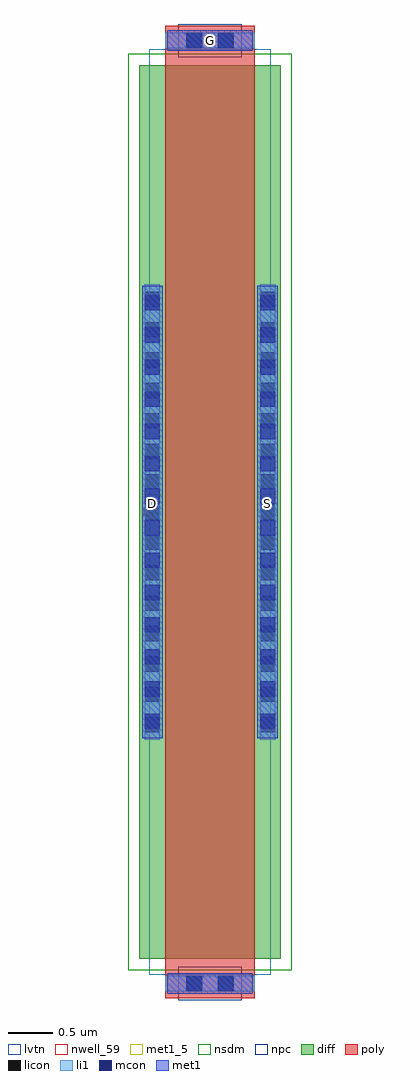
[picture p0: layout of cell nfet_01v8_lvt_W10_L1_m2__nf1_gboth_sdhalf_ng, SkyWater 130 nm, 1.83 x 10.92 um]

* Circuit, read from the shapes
.subckt nfet_01v8_lvt_W10_L1_m2__nf1_gboth_sdhalf_ng B D G S
XM1 S G D B sky130_fd_pr__nfet_01v8_lvt w=10 l=1
.ends

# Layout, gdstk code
import gdstk
lib = gdstk.Library(unit=1e-6, precision=1e-09)
def R(c, l, rs):  # rectangles x0, y0, x1, y1
    for r in rs: c.add(gdstk.rectangle(r[:2], r[2:], *l))
def A(c, l, x, y, w, h, nx, ny, dx, dy):  # array of equal rectangles
    R(c, l, [(x+i*dx, y+j*dy, x+i*dx+w, y+j*dy+h) for i in range(nx) for j in range(ny)])
nwell_59 = (64, 59)
diff = (65, 20)
poly = (66, 20)
licon = (66, 44)
li1 = (67, 20)
mcon = (67, 44)
met1_5 = (68, 5)
met1 = (68, 20)
nsdm = (93, 44)
npc = (95, 20)
lvtn = (125, 44)

sky130_fd_pr__nfet_01v8_ = lib.new_cell('sky130_fd_pr__nfet_01v8_lvt_8MB38K')
R(sky130_fd_pr__nfet_01v8_, diff, [(-0.79,-5,0.79,5)])
R(sky130_fd_pr__nfet_01v8_, poly, [(-0.5,-5.44,0.5,5.44)])
A(sky130_fd_pr__nfet_01v8_, licon, -0.73, -2.465, 0.17, 0.17, 1, 15, 0, 0.34)
A(sky130_fd_pr__nfet_01v8_, licon, 0.56, -2.465, 0.17, 0.17, 1, 15, 0, 0.34)
R(sky130_fd_pr__nfet_01v8_, licon, [(-0.255,-5.36,-0.085,-5.19), (0.085,-5.36,0.255,-5.19), (-0.255,5.19,-0.085,5.36), (0.085,5.19,0.255,5.36)])
R(sky130_fd_pr__nfet_01v8_, li1, [(-0.5,-5.36,0.5,-5.19), (-0.73,-2.55,-0.56,2.55), (0.56,-2.55,0.73,2.55), (-0.5,5.19,0.5,5.36)])
A(sky130_fd_pr__nfet_01v8_, mcon, -0.73, -2.425, 0.17, 0.17, 1, 14, 0, 0.36)
A(sky130_fd_pr__nfet_01v8_, mcon, 0.56, -2.425, 0.17, 0.17, 1, 14, 0, 0.36)
R(sky130_fd_pr__nfet_01v8_, mcon, [(-0.265,-5.36,-0.095,-5.19), (0.095,-5.36,0.265,-5.19), (-0.265,5.19,-0.095,5.36), (0.095,5.19,0.265,5.36)])
R(sky130_fd_pr__nfet_01v8_, met1, [(-0.48,-5.39,0.48,-5.16), (-0.76,-2.53,-0.53,2.53), (0.53,-2.53,0.76,2.53), (-0.48,5.16,0.48,5.39)])
R(sky130_fd_pr__nfet_01v8_, nsdm, [(-0.915,-5.125,0.915,5.125)])
R(sky130_fd_pr__nfet_01v8_, npc, [(-0.355,-5.46,0.355,-5.09), (-0.355,5.09,0.355,5.46)])
R(sky130_fd_pr__nfet_01v8_, lvtn, [(-0.68,-5.18,0.68,5.18)])
sky130_fd_pr__nfet_01v8_.add(gdstk.Label('D', (-0.645,0), layer=67, texttype=5))
sky130_fd_pr__nfet_01v8_.add(gdstk.Label('S', (0.645,0), layer=67, texttype=5))
sky130_fd_pr__nfet_01v8_.add(gdstk.Label('G', (0,5.275), layer=67, texttype=5))

nfet_01v8_lvt_w10_l1_m2_ = lib.new_cell('nfet_01v8_lvt_W10_L1_m2__nf1_gboth_sdhalf_ng')
R(nfet_01v8_lvt_w10_l1_m2_, nwell_59, [(0.05,5.39,0.15,5.49)])
R(nfet_01v8_lvt_w10_l1_m2_, met1_5, [(0.03,5.44,0.26,5.64), (1.32,5.44,1.55,5.64), (0.31,10.6,1.27,10.83)])
R(nfet_01v8_lvt_w10_l1_m2_, met1, [(0.03,5.44,0.26,5.64), (1.32,5.44,1.55,5.64), (0.31,10.6,1.27,10.83)])
nfet_01v8_lvt_w10_l1_m2_.add(gdstk.Reference(sky130_fd_pr__nfet_01v8_, (0.79,5.44)))
nfet_01v8_lvt_w10_l1_m2_.add(gdstk.Label('D', (0.145,5.54), layer=68, texttype=5))
nfet_01v8_lvt_w10_l1_m2_.add(gdstk.Label('S', (1.435,5.54), layer=68, texttype=5))
nfet_01v8_lvt_w10_l1_m2_.add(gdstk.Label('G', (0.79,10.715), layer=68, texttype=5))
nfet_01v8_lvt_w10_l1_m2_.add(gdstk.Label('B', (0.1,5.44), layer=64, texttype=59))

lib.write_gds('nfet_01v8_lvt_W10_L1_m2__nf1_gboth_sdhalf_ng.gds')
